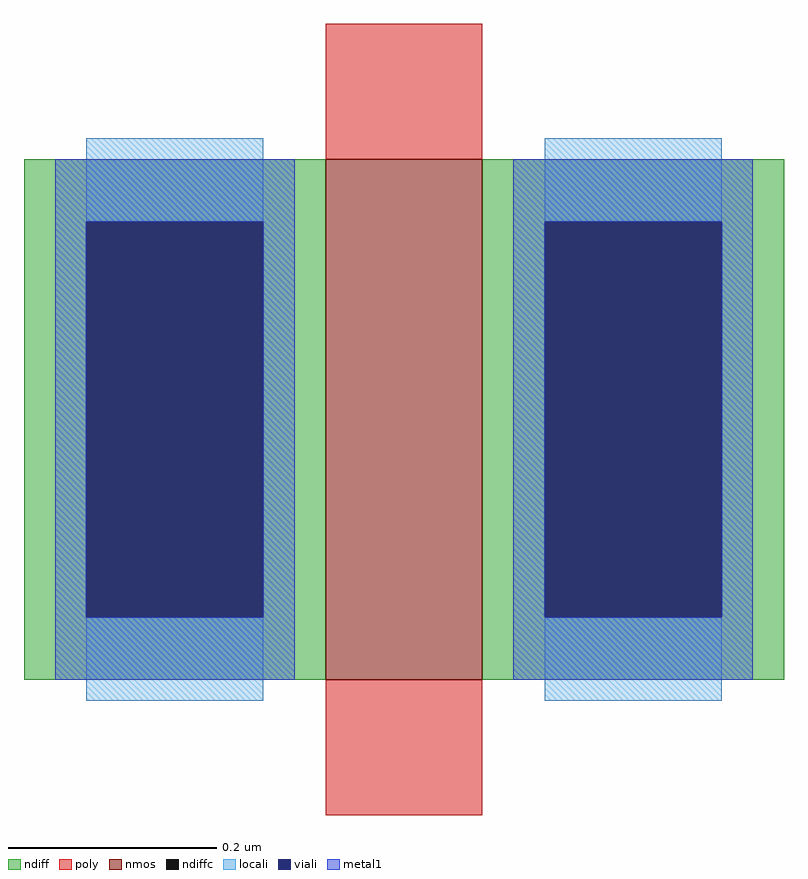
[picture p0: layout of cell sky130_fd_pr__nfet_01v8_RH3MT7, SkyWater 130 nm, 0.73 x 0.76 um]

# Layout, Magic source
magic
tech sky130A
magscale 1 2
<< nmos >>
rect -15 -50 15 50
<< ndiff >>
rect -73 38 -15 50
rect -73 -38 -61 38
rect -27 -38 -15 38
rect -73 -50 -15 -38
rect 15 38 73 50
rect 15 -38 27 38
rect 61 -38 73 38
rect 15 -50 73 -38
<< ndiffc >>
rect -61 -38 -27 38
rect 27 -38 61 38
<< poly >>
rect -15 50 15 76
rect -15 -76 15 -50
<< locali >>
rect -61 38 -27 54
rect -61 -54 -27 -38
rect 27 38 61 54
rect 27 -54 61 -38
<< viali >>
rect -61 -38 -27 38
rect 27 -38 61 38
<< metal1 >>
rect -67 38 -21 50
rect -67 -38 -61 38
rect -27 -38 -21 38
rect -67 -50 -21 -38
rect 21 38 67 50
rect 21 -38 27 38
rect 61 -38 67 38
rect 21 -50 67 -38
<< properties >>
string gencell sky130_fd_pr__nfet_01v8
string library sky130
string parameters w 0.5 l 0.150 m 1 nf 1 diffcov 100 polycov 100 guard 0 glc 1 grc 1 gtc 1 gbc 1 tbcov 100 rlcov 100 topc 0 botc 0 poverlap 0 doverlap 0 lmin 0.15 wmin 0.42 compatible {sky130_fd_pr__nfet_01v8 sky130_fd_pr__nfet_01v8_lvt  sky130_fd_bs_flash__special_sonosfet_star  sky130_fd_pr__nfet_g5v0d10v5 sky130_fd_pr__nfet_05v0_nvt  sky130_fd_pr__nfet_03v3_nvt} full_metal 0 viasrc 100 viadrn 100 viagate 100 viagb 0 viagr 0 viagl 0 viagt 0
<< end >>
